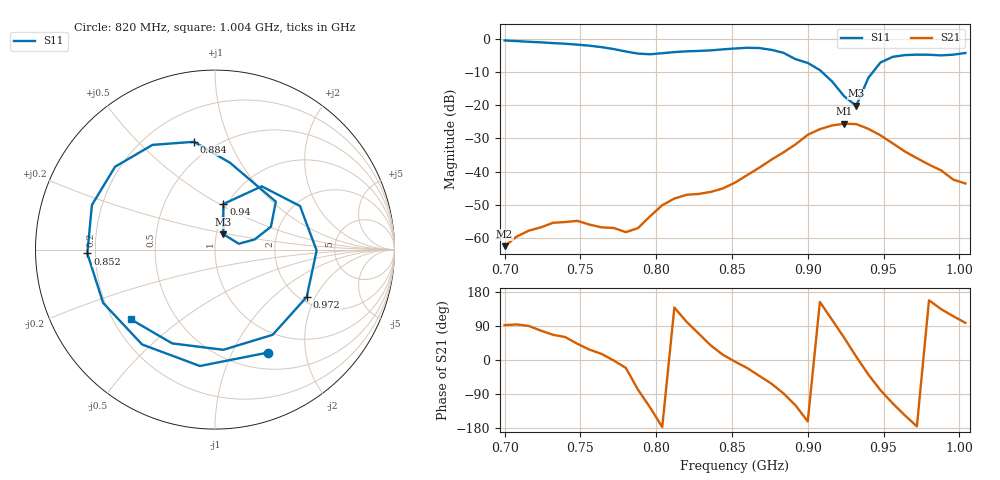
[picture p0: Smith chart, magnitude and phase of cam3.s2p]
# Hz S RI R 50
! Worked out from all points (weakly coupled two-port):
!   39 points, 700 MHz to 1.004 GHz, reference 50 ohm
!   highest |S21| = -25.59 dB at 924 MHz (marker M1); lowest = -62.4 dB at 700 MHz (marker M2)
!   lowest |S11| = -20.2 dB at 932 MHz (marker M3), VSWR 1.22, Z = 54 + j9.39 ohm
!   |S11| at or under -10 dB: 909.3 MHz to 943.1 MHz (33.78 MHz wide, 3.65 % of centre)
!   S12 and S22 are empty: the file has one direction only
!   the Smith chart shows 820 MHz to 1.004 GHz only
!   S11 on the Smith chart (normalised r, x): 820 MHz: 0.71, -1.39; 852 MHz: 0.17, -0.01; 884 MHz: 0.39, +0.75; 940 MHz: 0.96, +0.52; 972 MHz: 2.17, -1.71; 1.004 GHz: 0.27, -0.34
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7e8  0.7602 0.5527  -2.7e-05 0.000756  0 0  0 0
7.24e8  0.8433 -0.2515  0.000317 0.00142  0 0  0 0
7.4e8  0.4592 -0.7023  0.000857 0.00152  0 0  0 0
7.56e8  -0.19 -0.7603  0.00142 0.000734  0 0  0 0
7.72e8  -0.6675 -0.2017  0.00142 -3.46e-05  0 0  0 0
7.8e8  -0.6026 0.2189  0.00115 -0.000438  0 0  0 0
7.96e8  0.2284 0.5359  -0.00124 -0.00174  0 0  0 0
8.04e8  0.5714 0.1961  -0.00312 -0.000166  0 0  0 0
8.2e8  0.2936 -0.5739  -0.00085 0.0044  0 0  0 0
8.36e8  -0.4064 -0.5284  0.00387 0.00309  0 0  0 0
8.52e8  -0.7112 -0.0213  0.00681 -0.000514  0 0  0 0
8.68e8  -0.5566 0.4619  0.00855 -0.00763  0 0  0 0
8.84e8  -0.1171 0.6006  0.000622 -0.0195  0 0  0 0
9e8  0.3389 0.267  -0.0341 -0.011  0 0  0 0
9.08e8  0.3116 0.1275  -0.0388 0.0197  0 0  0 0
9.24e8  0.1323 0.0325  0.0271 0.045  0 0  0 0
9.32e8  0.0465 0.0861  0.0512 0.00789  0 0  0 0
9.4e8  0.0465 0.2541  0.0345 -0.0274  0 0  0 0
9.56e8  0.4737 0.2429  -0.0109 -0.0243  0 0  0 0
9.72e8  0.511 -0.2637  -0.0159 -0.00137  0 0  0 0
9.88e8  0.0466 -0.5582  -0.00727 0.00749  0 0  0 0
1.004e9  -0.4689 -0.3886  -0.000922 0.00657  0 0  0 0
